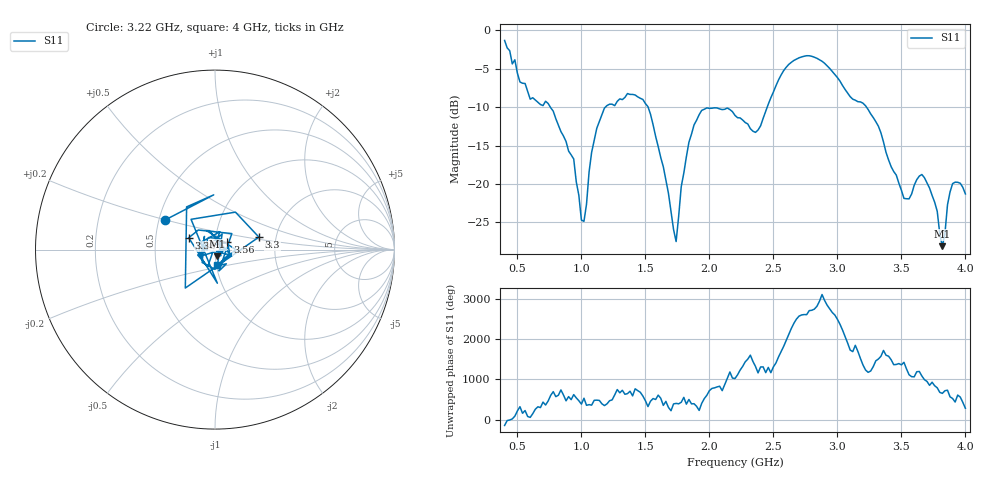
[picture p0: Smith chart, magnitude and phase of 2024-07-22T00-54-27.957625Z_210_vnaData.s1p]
!Created with skrf (http://scikit-rf.org).
# Hz S RI R 50.0
!freq ReS11 ImS11
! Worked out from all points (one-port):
!   181 points, 400 MHz to 4 GHz, reference 50 ohm
!   lowest |S11| = -28.1 dB at 3.82 GHz (marker M1), VSWR 1.08, Z = 51.2 - j3.81 ohm
!   |S11| at or under -10 dB: 757 MHz to 1.188 GHz (430.8 MHz wide, 44.3 % of centre); 1.521 GHz to 2.452 GHz (930.7 MHz wide, 46.9 % of centre); 3.227 GHz to end of sweep
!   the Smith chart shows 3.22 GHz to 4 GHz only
!   S11 on the Smith chart (normalised r, x): 3.22 GHz: 0.54, +0.20; 3.3 GHz: 1.63, +0.24; 3.38 GHz: 0.74, +0.10; 3.56 GHz: 1.14, +0.09; 4 GHz: 1.01, -0.17
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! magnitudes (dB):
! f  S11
! 400 MHz  -1.3
! 600 MHz  -9.0
! 740 MHz  -9.5
! 860 MHz  -13.8
! 940 MHz  -16.8
! 1 GHz  -24.7
! 1.02 GHz  -24.9
! 1.12 GHz  -12.8
! 1.3 GHz  -8.9
! 1.52 GHz  -9.9
! 1.74 GHz  -27.5
! 1.76 GHz  -24.2
! 1.84 GHz  -14.6
! 1.92 GHz  -11.0
! 2.2 GHz  -11.1
! 2.38 GHz  -13.0
! 2.66 GHz  -3.9
! 2.88 GHz  -4.0
! 3.1 GHz  -8.6
! 3.22 GHz  -9.8
! 3.3 GHz  -11.9
! 3.38 GHz  -15.9
! 3.56 GHz  -21.9
! 3.68 GHz  -19.2
! 3.78 GHz  -23.5
! 3.82 GHz  -28.1
! 3.9 GHz  -20.0
! 4 GHz  -21.3
